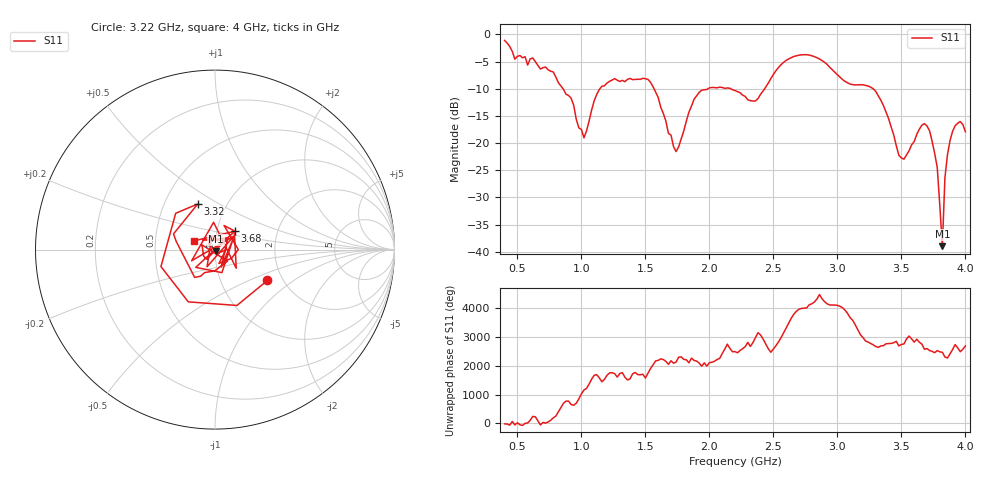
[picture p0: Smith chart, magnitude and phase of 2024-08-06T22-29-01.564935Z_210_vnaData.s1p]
!Created with skrf (http://scikit-rf.org).
# Hz S RI R 50.0
!freq ReS11 ImS11
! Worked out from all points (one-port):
!   181 points, 400 MHz to 4 GHz, reference 50 ohm
!   lowest |S11| = -39.0 dB at 3.82 GHz (marker M1), VSWR 1.02, Z = 50.5 - j0.995 ohm
!   |S11| at or under -10 dB: 856.1 MHz to 1.145 GHz (288.5 MHz wide, 28.8 % of centre); 1.567 GHz to 1.99 GHz (422.9 MHz wide, 23.8 % of centre); 3.279 GHz to end of sweep (the widest 3 of 4)
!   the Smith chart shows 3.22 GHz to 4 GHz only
!   S11 on the Smith chart (normalised r, x): 3.22 GHz: 1.67, -0.65; 3.32 GHz: 0.73, +0.40; 3.68 GHz: 1.22, +0.26; 4 GHz: 0.79, +0.08
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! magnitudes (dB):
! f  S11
! 400 MHz  -1.1
! 480 MHz  -4.6
! 620 MHz  -4.4
! 860 MHz  -10.1
! 1.02 GHz  -19.0
! 1.14 GHz  -10.1
! 1.3 GHz  -8.7
! 1.52 GHz  -8.3
! 1.72 GHz  -20.7
! 1.76 GHz  -20.7
! 1.92 GHz  -10.7
! 2.2 GHz  -10.3
! 2.36 GHz  -12.3
! 2.66 GHz  -4.1
! 2.86 GHz  -4.5
! 3.1 GHz  -9.1
! 3.22 GHz  -9.4
! 3.32 GHz  -11.3
! 3.48 GHz  -22.2
! 3.56 GHz  -21.4
! 3.68 GHz  -16.4
! 3.72 GHz  -17.7
! 3.78 GHz  -24.5
! 3.82 GHz  -39.0
! 3.84 GHz  -26.4
! 3.88 GHz  -19.5
! 3.96 GHz  -16.1
! 4 GHz  -17.9
